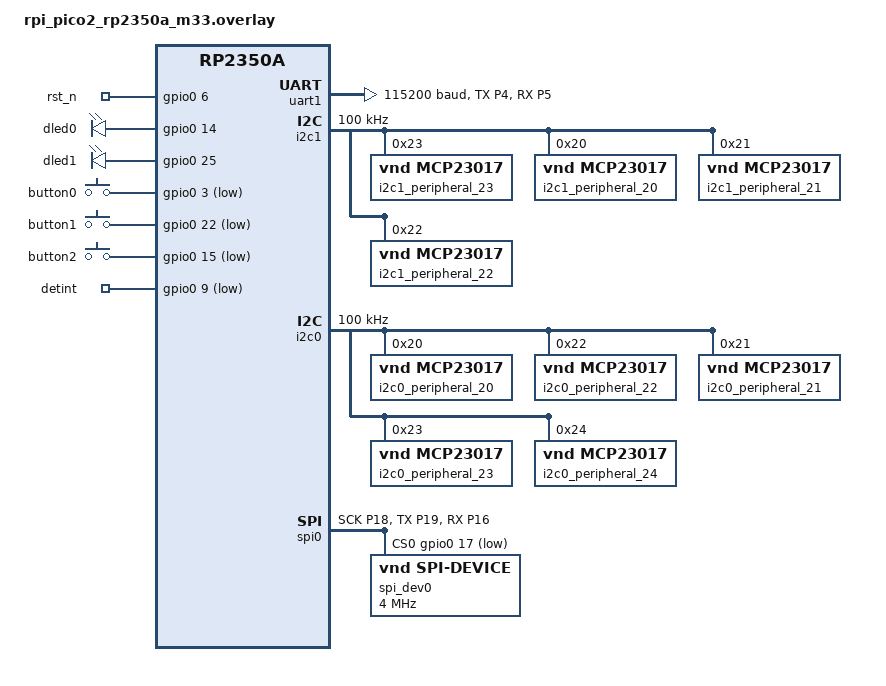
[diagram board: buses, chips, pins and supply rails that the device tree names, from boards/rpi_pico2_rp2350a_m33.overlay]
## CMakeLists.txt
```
cmake_minimum_required(VERSION 3.20.0)

find_package(Zephyr REQUIRED HINTS $ENV{ZEPHYR_BASE})
project(blueline)

target_sources(app PRIVATE
	src/main.c
	src/fsm_main.c
	src/pico_io.c
)
```

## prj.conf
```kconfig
CONFIG_I2C=y
CONFIG_SPI=y
CONFIG_PINCTRL=y
CONFIG_SHELL=y
CONFIG_I2C_SHELL=y
CONFIG_LOG=y
CONFIG_LOG_DEFAULT_LEVEL=3
CONFIG_SMF=y
CONFIG_SHELL=y
CONFIG_LOG_BACKEND_UART=n
CONFIG_LOG_RUNTIME_FILTERING=y
CONFIG_LOG_MODE_IMMEDIATE=n
CONFIG_LOG_MODE_DEFERRED=y
CONFIG_TIMESLICING=y
CONFIG_TIMESLICE_SIZE=10
CONFIG_TIMESLICE_PRIORITY=5

# Bluetooth module UART (uart1, TXD1/RXD1)
CONFIG_SERIAL=y
CONFIG_UART_INTERRUPT_DRIVEN=y
```

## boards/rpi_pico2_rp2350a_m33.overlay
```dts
#include <dt-bindings/gpio/gpio.h>

&pinctrl {
    i2c0_default: i2c0_default {
        group1 {
            pinmux = <I2C0_SDA_P20>, <I2C0_SCL_P21>;
            input-enable;
            input-schmitt-enable;
        };
    };

    i2c1_default: i2c1_default {
        group1 {
            pinmux = <I2C1_SDA_P10>, <I2C1_SCL_P11>;
            input-enable;
            input-schmitt-enable;
        };
    };

    spi0_default: spi0_default {
        group1 {                          /* outputs */
        pinmux = <SPI0_SCK_P18>, <SPI0_TX_P19>;
        };
        group2 {                          /* input */
        pinmux = <SPI0_RX_P16>;
            input-enable;
        };
    };

    uart1_default: uart1_default {
        group1 {                          /* output: TXD1 on GPIO4 */
            pinmux = <UART1_TX_P4>;
        };
        group2 {                          /* input: RXD1 on GPIO5 */
            pinmux = <UART1_RX_P5>;
            input-enable;
            input-schmitt-enable;
        };
    };
};

/* Bluetooth module UART link (TXD1 = GPIO4, RXD1 = GPIO5). Baud rate
 * to be confirmed once the BT module command protocol is defined. */
&uart1 {
    status = "okay";
    current-speed = <115200>;
    pinctrl-0 = <&uart1_default>;
    pinctrl-names = "default";
};

&i2c1 {
    status = "okay";
    pinctrl-0 = <&i2c1_default>;
    pinctrl-names = "default";
    clock-frequency = <I2C_BITRATE_STANDARD>;

    i2c1_peripheral_23: i2c1_peripheral_23@23 {
        compatible = "vnd,mcp23017";
        reg = <0x23>;                     /* 7-bit slave address */
    };

    i2c1_peripheral_20: i2c1_peripheral_20@20 {
        compatible = "vnd,mcp23017";
        reg = <0x20>;
    };

    i2c1_peripheral_21: i2c1_peripheral_21@21 {
        compatible = "vnd,mcp23017";
        reg = <0x21>;                     /* 7-bit slave address */
    };

	i2c1_peripheral_22: i2c1_peripheral_22@22 {
        compatible = "vnd,mcp23017";
        reg = <0x22>;                     /* 7-bit slave address */
    };


};

&i2c0 {
    status = "okay";
    pinctrl-0 = <&i2c0_default>;
    pinctrl-names = "default";
    clock-frequency = <I2C_BITRATE_STANDARD>;

    i2c0_peripheral_20: i2c0_peripheral_20@20 {
        compatible = "vnd,mcp23017";
        reg = <0x20>;
    };

    i2c0_peripheral_22: i2c0_peripheral_20@22 {
        compatible = "vnd,mcp23017";
        reg = <0x22>;
    };

    i2c0_peripheral_21: i2c0_peripheral_21@21 {
        compatible = "vnd,mcp23017";
        reg = <0x21>;                     /* 7-bit slave address */
    };

    i2c0_peripheral_23: i2c0_peripheral_23@23 {
        compatible = "vnd,mcp23017";
        reg = <0x23>;                     /* 7-bit slave address */
    };

    i2c0_peripheral_24: i2c0_peripheral_24@24 {
        compatible = "vnd,mcp23017";
        reg = <0x24>;                     /* 7-bit slave address */
    };


};


&spi0 {
    status        = "okay";
    pinctrl-0     = <&spi0_default>;
    pinctrl-names = "default";
    cs-gpios      = <&gpio0 17 GPIO_ACTIVE_LOW>;

    spi_dev0: spi_dev0@0 {
        compatible        = "vnd,spi-device";
        reg               = <0>;
        spi-max-frequency = <4000000>;
    };
};

/ {
    hooksw {
        compatible = "gpio-leds";
        rst_n: rstn {
            gpios = <&gpio0 6 GPIO_ACTIVE_HIGH>;
        };
    };


    dled_0 {
        compatible = "gpio-leds";
        dled0: dled_0 {
            gpios = <&gpio0 14 GPIO_ACTIVE_HIGH>;
        };
    };

    dled_1 {
        compatible = "gpio-leds";
        dled1: dled_1 {
            gpios = <&gpio0 25 GPIO_ACTIVE_HIGH>;
        };
    };



    button_0 {
        compatible = "gpio-keys";
        button0: button_0 {
            gpios = <&gpio0 3 (GPIO_ACTIVE_LOW)>;
        };
    };

    button_1 {
        compatible = "gpio-keys";
        button1: button_1 {
            gpios = <&gpio0 22 (GPIO_ACTIVE_LOW)>;
        };
    };

    button_2 {
        compatible = "gpio-keys";
        button2: button_2 {
            gpios = <&gpio0 15 (GPIO_ACTIVE_LOW | GPIO_PULL_UP)>;
        };
    };

    det_int {
        compatible = "gpio-keys";
        detint: det_int {
            gpios = <&gpio0 9 (GPIO_ACTIVE_LOW)>;
        };
    };

    aliases {
        rstn = &rst_n;
        sw0 = &button0;
        sw1 = &button1;
        sw2 = &button2;
        detint = &detint;
        led0 = &dled0;
        led1 = &dled1;
    };
};
```

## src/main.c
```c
/*
 * blueline - main.c
 * Target: Raspberry Pi Pico 2 (RP2350), Zephyr RTOS
 * Initialises the I/O and creates all application threads.
 */

#include <zephyr/kernel.h>
#include <zephyr/logging/log.h>

#include "main.h"
#include "fsm_main.h"
#include "pico_io.h"

LOG_MODULE_REGISTER(main, LOG_LEVEL_INF);

/* ---- fsm_thread -------------------------------------------------------- */

K_THREAD_STACK_DEFINE(fsm_thread_stack, FSM_THREAD_STACK_SIZE);
static struct k_thread fsm_thread_data;
static k_tid_t fsm_thread_id;

/* ---- further threads will be added here -------------------------------- */

int main(void)
{
	LOG_INF("blueline starting");

	if (pico_io_init() < 0) {
		LOG_ERR("I/O init failed, stopping");
		return -1;
	}

	fsm_thread_id = k_thread_create(&fsm_thread_data,
					fsm_thread_stack,
					K_THREAD_STACK_SIZEOF(fsm_thread_stack),
					fsm_main,
					NULL, NULL, NULL,
					FSM_THREAD_PRIORITY, 0, K_NO_WAIT);
	k_thread_name_set(fsm_thread_id, "fsm_thread");

	/* main returns; the application threads keep running */
	return 0;
}
```

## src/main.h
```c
/*
 * blueline - main.h
 * Thread configuration.
 */

#ifndef MAIN_H
#define MAIN_H

/* fsm_thread */
#define FSM_THREAD_STACK_SIZE  2048
#define FSM_THREAD_PRIORITY    5

#endif /* MAIN_H */
```
